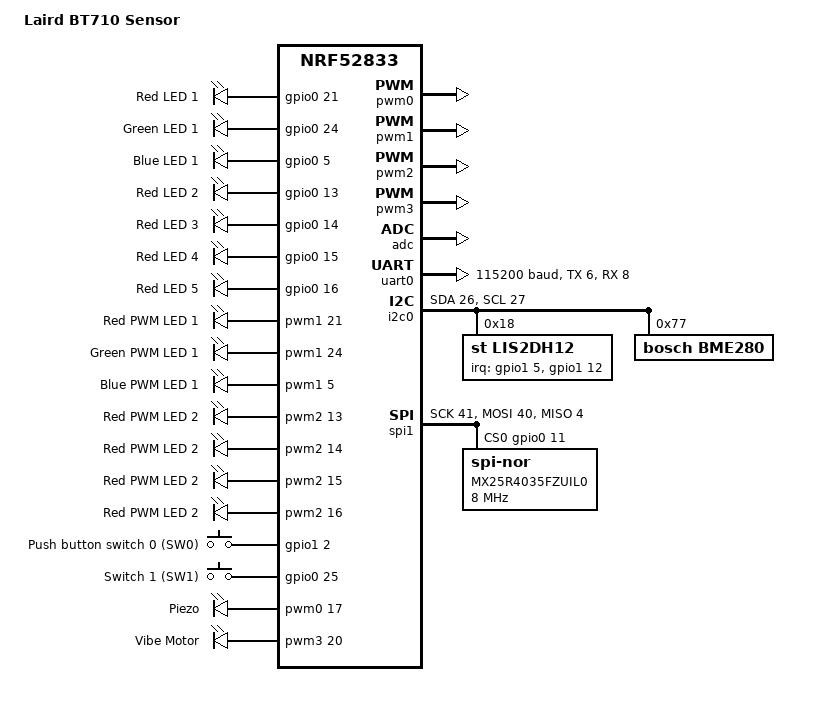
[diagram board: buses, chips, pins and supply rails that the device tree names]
/*
 * Copyright (c) 2020 Laird Connectivity
 *
 * SPDX-License-Identifier: Apache-2.0
 */

/dts-v1/;
#include <nordic/nrf52833_qiaa.dtsi>

/ {
	model = "Laird BT710 Sensor";
	compatible = "nordic,nrf52833-dk-nrf52833";

	chosen {
		zephyr,console = &uart0;
		zephyr,shell-uart = &uart0;
		zephyr,uart-mcumgr = &uart0;
		zephyr,bt-mon-uart = &uart0;
		zephyr,bt-c2h-uart = &uart0;
		zephyr,sram = &sram0;
		zephyr,flash = &flash0;
		zephyr,code-partition = &slot0_partition;
	};

	leds {
		compatible = "gpio-leds";
		led1red: led_1red {
			gpios = <&gpio0 21 GPIO_ACTIVE_HIGH>;
			label = "Red LED 1";
		};
		led1green: led_1green {
			gpios = <&gpio0 24 GPIO_ACTIVE_HIGH>;
			label = "Green LED 1";
		};
        led1blue: led_1blue {
			gpios = <&gpio0 5 GPIO_ACTIVE_HIGH>;
			label = "Blue LED 1";
		};
        led2red: led_2red {
			gpios = <&gpio0 13 GPIO_ACTIVE_HIGH>;
			label = "Red LED 2";
		};
        led3red: led_3red {
			gpios = <&gpio0 14 GPIO_ACTIVE_HIGH>;
			label = "Red LED 3";
		};
        led4red: led_4red {
			gpios = <&gpio0 15 GPIO_ACTIVE_HIGH>;
			label = "Red LED 4";
		};
        led5red: led_5red {
			gpios = <&gpio0 16 GPIO_ACTIVE_HIGH>;
			label = "Red LED 5";
		};
	};

    pwmleds {
		compatible = "pwm-leds";

		led1red_pwm: led_pwm_1red {
			pwms = <&pwm1 21>;
			label = "Red PWM LED 1";
		};

        led1green_pwm: led_pwm_1green {
			pwms = <&pwm1 24>;
			label = "Green PWM LED 1";
		};

        led1blue_pwm: led_pwm_1blue {
			pwms = <&pwm1 5>;
			label = "Blue PWM LED 1";
		};

        led2red_pwm: led_pwm_2red {
			pwms = <&pwm2 13>;
			label = "Red PWM LED 2";
		};

        led3red_pwm: led_pwm_3red {
			pwms = <&pwm2 14>;
			label = "Red PWM LED 2";
		};

        led4red_pwm: led_pwm_4red {
			pwms = <&pwm2 15>;
			label = "Red PWM LED 2";
		};

        led5red_pwm: led_pwm_5red {
			pwms = <&pwm2 16>;
			label = "Red PWM LED 2";
		};

	};

	buttons {
		compatible = "gpio-keys";
		button0: button_0 {
			gpios = <&gpio1 2 GPIO_PULL_UP>;
			label = "Push button switch 0 (SW0)";
		};
        switch1: button_1 {
			gpios = <&gpio0 25 GPIO_PULL_DOWN>;
			label = "Switch 1 (SW1)";
		};
	};

	piezos {
		compatible = "pwm-leds";

		piezo0: piezo_0 {
			pwms = <&pwm0 17>;
			label = "Piezo";
		};
    };

    vibemotors {
		compatible = "pwm-leds";

		vibe0: vibe_0 {
			pwms = <&pwm3 20>;
			label = "Vibe Motor";
		};
    };

	aliases {
		led1r = &led1red;
        led1g = &led1green;
		led1b = &led1blue;
        led2 = &led2red;
        led3 = &led3red;
        led4 = &led4red;
        led5 = &led5red;
        led1rpwm = &led1red_pwm;
        led1gpwm = &led1green_pwm;
		led1bpwm = &led1blue_pwm;
        led2pwm = &led2red_pwm;
        led3pwm = &led3red_pwm;
        led4pwm = &led4red_pwm;
        led5pwm = &led5red_pwm;
		sw0 = &button0;
        sw1 = &switch1;
        piezo = &piezo0;
        vibemotor = &vibe0;
	};
};

&pwm0 {
	status = "okay";
	ch0-pin = <17>;
};

&pwm1 {
    status = "okay";
    ch0-pin = <21>;
    ch1-pin = <24>;
    ch2-pin = <5>;
};

&pwm2 {
    status = "okay";
    ch0-pin = <13>;
    ch1-pin = <14>;
    ch2-pin = <15>;
    ch3-pin = <16>;
};

&pwm3 {
	status = "okay";
	ch0-pin = <20>;
};

&adc {
	status = "okay";
};

&gpiote {
	status = "okay";
};

&gpio0 {
	status = "okay";
};

&gpio1 {
	status = "okay";
};

&uart0 {
	compatible = "nordic,nrf-uart";
	current-speed = <115200>;
	status = "okay";
	tx-pin = <6>;
	rx-pin = <8>;
	rts-pin = <5>;
	cts-pin = <7>;
};

&i2c0 {
	compatible = "nordic,nrf-twi";
	status = "okay";
	sda-pin = <26>;
	scl-pin = <27>;

	lis2dh12@18 {
		compatible = "st,lis2dh12", "st,lis2dh";
		reg = <0x18>;
		irq-gpios = <&gpio1 5 GPIO_ACTIVE_HIGH>,
				<&gpio1 12 GPIO_ACTIVE_HIGH>;
		label = "LIS2DH12";
	};

	bme280@77 {
		compatible = "bosch,bme280";
		reg = <0x77>;
		label = "BME280";
	};
};

&spi1 {
	compatible = "nordic,nrf-spi";
	status = "okay";
	sck-pin = <41>;
	mosi-pin = <40>;
	miso-pin = <4>;
	cs-gpios = <&gpio0 11 0>;
	mx25r4035fzuil0@0 {
		compatible = "jedec,spi-nor";
		label = "MX25R4035FZUIL0";
		reg = <0>;
		spi-max-frequency = <8000000>;
		size = <0x400000>;
		has-be32k;
		has-dpd;
		t-enter-dpd = <10000>;
		t-exit-dpd = <35000>;
		jedec-id = [c2 28 13];
	};
};

&flash0 {
	/*
	 * For more information, see:
	 * http://docs.zephyrproject.org/latest/guides/dts/index.html#flash-partitions
	 */
	partitions {
		compatible = "fixed-partitions";
		#address-cells = <1>;
		#size-cells = <1>;

		boot_partition: partition@0 {
			label = "mcuboot";
			reg = <0x000000000 0xC000>;
		};
		slot0_partition: partition@c000 {
			label = "image-0";
			reg = <0x0000C000 0x32000>;
		};
		slot1_partition: partition@3e000 {
			label = "image-1";
			reg = <0x0003E000 0x32000>;
		};
		scratch_partition: partition@70000 {
			label = "image-scratch";
			reg = <0x00070000 0xA000>;
		};
		storage_partition: partition@7a000 {
			label = "storage";
			reg = <0x0007A000 0x00006000>;
		};
	};
};
